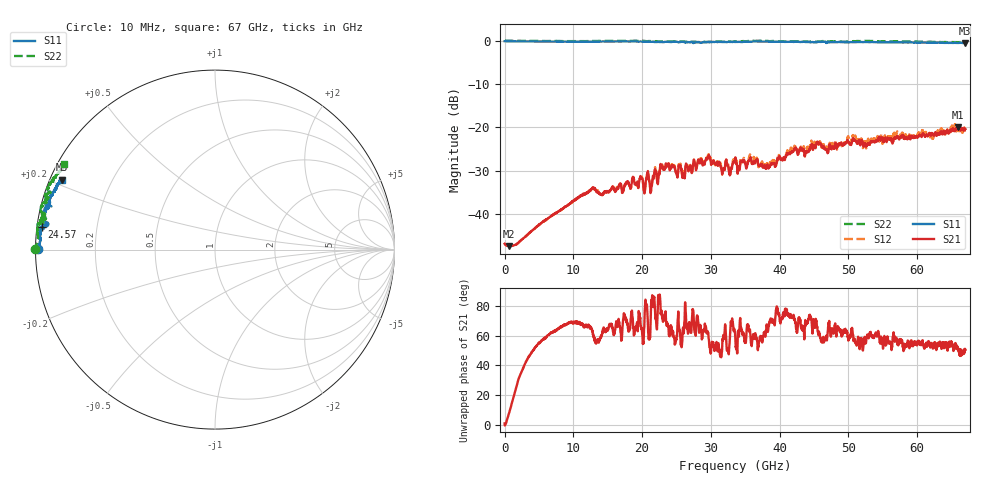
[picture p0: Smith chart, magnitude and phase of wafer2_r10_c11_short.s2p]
!Keysight Technologies,N5227A,US51270248,A.10.65.08
!Date: Tuesday, June 11, 2024 06:15:56
!Correction: S11(Full 2 Port(1,4))
!S41(Full 2 Port(1,4))
!S14(Full 2 Port(1,4))
!S44(Full 2 Port(1,4))
!S2P File: Measurements: S11, S41, S14, S44:
# Hz S  dB  R 50
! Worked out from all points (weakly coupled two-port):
!   3201 points, 10 MHz to 67 GHz, reference 50 ohm
!   highest |S21| = -19.89 dB at 65.93 GHz (marker M1); lowest = -47.3 dB at 700.8 MHz (marker M2)
!   lowest |S11| = -0.6 dB at 66.92 GHz (marker M3), VSWR 31.34, Z = 1.67 + j10.9 ohm
!   |S11| at or under -10 dB: nowhere
!   |S22| runs from -0.4 to 0.0 dB; largest |S21 - S12| = 0.017
!   S11 on the Smith chart (normalised r, x): 10 MHz: 0.01, +0.00; 24.57 GHz: 0.01, +0.07; 67 GHz: 0.03, +0.22
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1e7  -0.12 179.9  -46.78 1.1  -46.84 1.2  0.05 180.0
7.008344e8  -0.16 179.6  -47.31 8.7  -47.33 8.8  -0.03 179.8
1.118896e10  -0.22 176.6  -35.55 67.3  -35.74 68.5  -0.10 175.9
1.983485e10  -0.17 173.4  -31.60 65.9  -31.66 67.9  -0.01 172.2
2.033728e10  -0.21 173.2  -35.18 69.7  -34.79 71.4  -0.09 171.4
2.079783e10  -0.20 173.1  -30.24 72.6  -30.05 72.6  -0.11 171.7
2.132119e10  -0.28 172.9  -34.24 83.1  -33.78 85.6  -0.13 170.8
2.178175e10  -0.32 172.6  -30.35 85.8  -29.90 87.0  -0.21 171.3
2.234698e10  -0.30 172.9  -31.71 87.3  -31.55 87.5  -0.21 170.7
2.289127e10  -0.30 172.6  -28.72 74.7  -28.58 75.8  -0.23 171.2
2.456602e10  -0.24 172.4  -28.90 59.0  -28.77 62.0  -0.19 170.9
2.596862e10  -0.29 171.6  -30.77 65.4  -30.50 68.1  -0.22 170.0
2.961121e10  -0.34 171.6  -26.73 61.7  -26.38 60.5  -0.26 169.6
3.275136e10  -0.31 170.6  -31.03 58.7  -30.65 59.6  -0.22 168.2
3.3505e10  -0.31 170.5  -27.23 62.0  -27.41 63.0  -0.14 168.3
3.82571e10  -0.21 168.1  -28.85 62.7  -28.92 63.8  -0.08 165.3
4.212996e10  -0.25 167.1  -25.02 70.7  -24.33 72.0  -0.13 164.0
4.468396e10  -0.34 166.0  -23.99 66.3  -23.47 62.2  -0.16 163.2
5.584198e10  -0.37 161.1  -22.51 56.1  -22.68 57.0  -0.13 156.7
6.593235e10  -0.53 156.4  -19.89 51.3  -19.56 48.1  -0.35 151.3
6.691626e10  -0.55 155.4  -20.53 49.4  -20.56 48.8  -0.32 150.6
6.7e10  -0.55 155.6  -20.34 50.5  -20.70 51.9  -0.31 150.5
